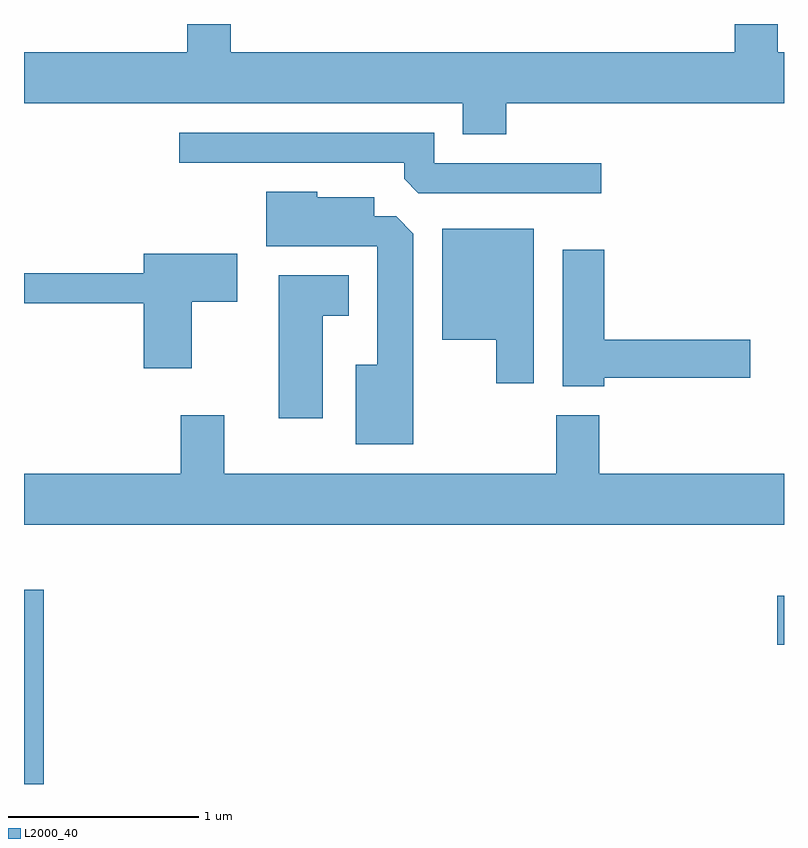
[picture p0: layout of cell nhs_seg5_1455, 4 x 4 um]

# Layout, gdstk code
import gdstk
lib = gdstk.Library(unit=1e-6, precision=1e-09)
def R(c, l, rs):  # rectangles x0, y0, x1, y1
    for r in rs: c.add(gdstk.rectangle(r[:2], r[2:], *l))
def P(c, l, *ps):  # polygons
    for p in ps: c.add(gdstk.Polygon(p, *l))
L2000_40 = (2000, 40)

nhs_seg5_1455 = lib.new_cell('nhs_seg5_1455')
R(nhs_seg5_1455, L2000_40, [(227.611,1482.072,227.714,1483.094), (231.576,1482.806,231.611,1483.064)])
P(nhs_seg5_1455, L2000_40, [(230.149,1485.656),(231.611,1485.656),(231.611,1485.924),(231.579,1485.924),(231.579,1486.072),(231.351,1486.072),(231.351,1485.924),(228.699,1485.924),(228.699,1486.072),(228.471,1486.072),(228.471,1485.924),(227.611,1485.924),(227.611,1485.656),(229.921,1485.656),(229.921,1485.491),(230.149,1485.491)],
  [(230.648,1485.339),(229.769,1485.339),(229.769,1485.499),(228.428,1485.499),(228.428,1485.341),(229.611,1485.341),(229.611,1485.257),(229.687,1485.181),(230.648,1485.181)],
  [(229.659,1484.969),(229.569,1485.059),(229.454,1485.059),(229.454,1485.159),(229.154,1485.159),(229.154,1485.189),(228.886,1485.189),(228.886,1484.901),(229.471,1484.901),(229.471,1484.279),(229.356,1484.279),(229.356,1483.861),(229.659,1483.861)],
  [(230.294,1484.994),(229.811,1484.994),(229.811,1484.411),(230.096,1484.411),(230.096,1484.181),(230.294,1484.181)],
  [(230.664,1484.211),(231.434,1484.211),(231.434,1484.409),(230.664,1484.409),(230.664,1484.884),(230.446,1484.884),(230.446,1484.166),(230.664,1484.166)],
  [(228.494,1484.611),(228.734,1484.611),(228.734,1484.864),(228.241,1484.864),(228.241,1484.759),(227.611,1484.759),(227.611,1484.601),(228.241,1484.601),(228.241,1484.261),(228.494,1484.261)],
  [(229.184,1484.536),(229.319,1484.536),(229.319,1484.749),(228.951,1484.749),(228.951,1483.996),(229.184,1483.996)],
  [(231.611,1483.704),(230.639,1483.704),(230.639,1484.014),(230.411,1484.014),(230.411,1483.704),(228.664,1483.704),(228.664,1484.014),(228.436,1484.014),(228.436,1483.704),(227.611,1483.704),(227.611,1483.436),(231.611,1483.436)])

lib.write_gds('nhs_seg5_1455.gds')
